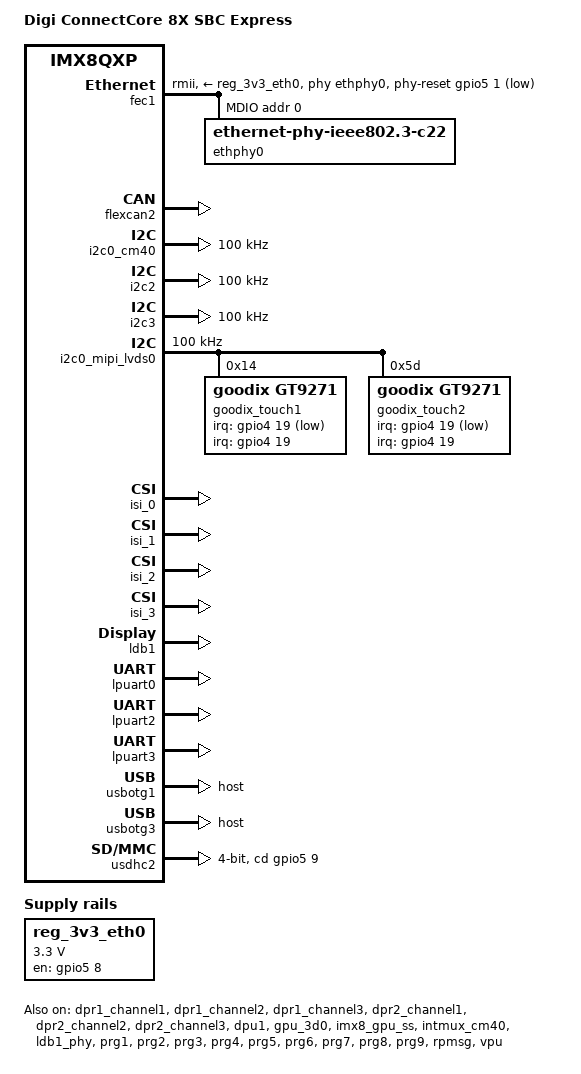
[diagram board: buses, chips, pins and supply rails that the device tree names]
/*
 * Copyright 2018, Digi International Inc.
 *
 * Permission to use, copy, modify, and/or distribute this software for any
 * purpose with or without fee is hereby granted, provided that the above
 * copyright notice and this permission notice appear in all copies.
 * THE SOFTWARE IS PROVIDED "AS IS" AND THE AUTHOR DISCLAIMS ALL WARRANTIES
 * WITH REGARD TO THIS SOFTWARE INCLUDING ALL IMPLIED WARRANTIES OF
 * MERCHANTABILITY AND FITNESS. IN NO EVENT SHALL THE AUTHOR BE LIABLE FOR
 * ANY SPECIAL, DIRECT, INDIRECT, OR CONSEQUENTIAL DAMAGES OR ANY DAMAGES
 * WHATSOEVER RESULTING FROM LOSS OF USE, DATA OR PROFITS, WHETHER IN AN
 * ACTION OF CONTRACT, NEGLIGENCE OR OTHER TORTIOUS ACTION, ARISING OUT OF
 * OR IN CONNECTION WITH THE USE OR PERFORMANCE OF THIS SOFTWARE.
 */

/dts-v1/;

/* i.MX8QXP CPU */
#include "../freescale/fsl-imx8qxp.dtsi"
/* Digi ConnectCore 8X (wireless/bluetooth variant) */
#include "ccimx8x-wb.dtsi"

/ {
	model = "Digi ConnectCore 8X SBC Express";
	compatible = "digi,ccimx8x-sbc-express", "digi,ccimx8x", "fsl,imx8qxp";

	chosen {
		bootargs = "console=ttyLP2,115200 earlycon=lpuart32,0x5a080000,115200";
		stdout-path = &lpuart2;
	};

	regulators {
		compatible = "simple-bus";
		#address-cells = <1>;
		#size-cells = <0>;

		reg_3v3_eth0: regulator@1 {
			compatible = "regulator-fixed";
			reg = <1>;
			regulator-name = "3v3_eth0";
			regulator-min-microvolt = <3300000>;
			regulator-max-microvolt = <3300000>;
			gpio = <&gpio5 8 GPIO_ACTIVE_HIGH>;
			enable-active-high;
			startup-delay-us = <25000>;
		};
	};
};

&dpr1_channel1 {
	status = "okay";
};

&dpr1_channel2 {
	status = "okay";
};

&dpr1_channel3 {
	status = "okay";
};

&dpr2_channel1 {
	status = "okay";
};

&dpr2_channel2 {
	status = "okay";
};

&dpr2_channel3 {
	status = "okay";
};

&dpu1 {
	status = "okay";
};

&fec1 {
	pinctrl-names = "default";
	pinctrl-0 = <&pinctrl_fec1>, <&pinctrl_fec1_gpio>;
	clocks = <&clk IMX8QXP_ENET0_IPG_CLK>,
		 <&clk IMX8QXP_ENET0_AHB_CLK>,
		 <&clk IMX8QXP_ENET0_REF_50MHZ_CLK>,
		 <&clk IMX8QXP_ENET0_PTP_CLK>,
		 <&clk IMX8QXP_ENET0_TX_CLK>;
	phy-mode = "rmii";
	phy-handle = <&ethphy0>;
	phy-supply = <&reg_3v3_eth0>;
	phy-reset-gpios = <&gpio5 1 GPIO_ACTIVE_LOW>;
	phy-reset-duration = <1>;
	fsl,magic-packet;
	digi,phy-reset-in-suspend;
	status = "okay";

	mdio {
		#address-cells = <1>;
		#size-cells = <0>;

		ethphy0: ethernet-phy@0 {
			compatible = "ethernet-phy-ieee802.3-c22";
			smsc,disable-energy-detect;
			reg = <0>;
		};
	};
};

&fec2 {
	status = "disabled";
};

/*
 * CAN1 port conflicts with LPUART0 RTS/CTS lines.
 * Before enabling the port you need to configure
 * lpuart0 node as 2 wires.
 */
&flexcan1 {
	pinctrl-names = "default";
	pinctrl-0 = <&pinctrl_flexcan1>;
	status = "disabled";
};

/* CAN2 */
&flexcan2 {
	pinctrl-names = "default";
	pinctrl-0 = <&pinctrl_flexcan2>;
	status = "okay";
};

/*
 * CAN3 port conflicts with LPUART3 TX/RX lines.
 * Before enabling the port you need to disable
 * lpuart3 node.
 */
&flexcan3 {
	pinctrl-names = "default";
	pinctrl-0 = <&pinctrl_flexcan3>;
	status = "disabled";
};

&gpu_3d0 {
	status = "okay";
};

&i2c0_cm40 {
	#address-cells = <1>;
	#size-cells = <0>;
	clock-frequency = <100000>;
	pinctrl-names = "default";
	pinctrl-0 = <&pinctrl_cm40_i2c>;
	status = "okay";
};

/* I2C2 available on Raspberry Pi expansion header */
&i2c2 {
	#address-cells = <1>;
	#size-cells = <0>;
	clocks = <&clk IMX8QXP_I2C2_CLK>,
		 <&clk IMX8QXP_I2C2_IPG_CLK>;
	clock-names = "per", "ipg";
	clock-frequency = <100000>;
	pinctrl-names = "default";
	pinctrl-0 = <&pinctrl_lpi2c2>;
	status = "okay";
};

/* I2C3 available on Raspberry Pi expansion header */
&i2c3 {
	#address-cells = <1>;
	#size-cells = <0>;
	clock-frequency = <100000>;
	pinctrl-names = "default";
	pinctrl-0 = <&pinctrl_lpi2c3>;
	status = "okay";
};

&i2c0_mipi_lvds0 {
	#address-cells = <1>;
	#size-cells = <0>;
	pinctrl-names = "default";
	pinctrl-0 = <&pinctrl_i2c0_mipi_lvds0>;
	clock-frequency = <100000>;
	status = "okay";

	/*
	 * On the CC8X SBC, an inconsistent reset sequence makes
	 * the Goodix display's touch controller respond to two I2C
	 * addresses: 0x14 and 0x5D. To make sure the touchscreen
	 * works every time, the touch controller's description must
	 * be duplicated for both addresses.
	 */
	goodix_touch1: gt9271@14 {
		compatible = "goodix,gt9271";
		reg = <0x14>;
		/* Interrupt for LVDS0 */
		interrupt-parent = <&gpio4>;
		interrupts = <19 IRQ_TYPE_EDGE_FALLING>;
		irq-gpios = <&gpio4 19 GPIO_ACTIVE_LOW>;
		skip-firmware-request;
		status = "okay";
	};

	goodix_touch2: gt9271@5D {
		compatible = "goodix,gt9271";
		reg = <0x5D>;
		/* Interrupt for LVDS0 */
		interrupt-parent = <&gpio4>;
		interrupts = <19 IRQ_TYPE_EDGE_FALLING>;
		irq-gpios = <&gpio4 19 GPIO_ACTIVE_LOW>;
		skip-firmware-request;
		status = "okay";
	};
};

&imx8_gpu_ss {
	status = "okay";
};

&intmux_cm40 {
	status = "okay";
};

&isi_0 {
	status = "okay";
};

&isi_1 {
	status = "okay";
};

&isi_2 {
	status = "okay";
};

&isi_3 {
	status = "okay";
};

&ldb1 {
	pinctrl-names = "default";
	pinctrl-0 = <&pinctrl_lvds0>;
	status = "okay";

	lvds-channel@0 {
		fsl,data-mapping = "jeida";
		fsl,data-width = <24>;
		status = "okay";

		display-timings {
			native-mode = <&g101evn010_1>;

			/* AUO G101EVN01.0 */
			g101evn010_1: timing@0 {
				clock-frequency = <68930000>;
				hactive = <1280>;
				vactive = <800>;
				hfront-porch = <120>;
				hback-porch = <0>;
				hsync-len = <8>;
				vback-porch = <10>;
				vfront-porch = <0>;
				vsync-len = <6>;
				hsync-active = <1>;
				vsync-active = <1>;
				de-active = <1>;
				pixelclk-active = <0>;
			};
		};
	};
};

&ldb1_phy {
	status = "okay";
};

/* LPUART0 on XBee socket */
&lpuart0 {
	/* RTS/CTS lines multiplexed with CAN1 */
	pinctrl-names = "default";
	pinctrl-0 = <&pinctrl_lpuart0_4wires>, <&pinctrl_xbee_gpios>;
	status = "okay";
};

/* Console */
&lpuart2 {
	pinctrl-names = "default";
	pinctrl-0 = <&pinctrl_lpuart2>;
	status = "okay";
};

/* LPUART3 on expansion header */
&lpuart3 {
	/* TX/RX lines multiplexed with CAN3 */
	pinctrl-names = "default";
	pinctrl-0 = <&pinctrl_lpuart3>;
	status = "okay";
};

&pd_dma_lpuart2 {
	debug_console;
};

&prg1 {
	status = "okay";
};

&prg2 {
	status = "okay";
};

&prg3 {
	status = "okay";
};

&prg4 {
	status = "okay";
};

&prg5 {
	status = "okay";
};

&prg6 {
	status = "okay";
};

&prg7 {
	status = "okay";
};

&prg8 {
	status = "okay";
};

&prg9 {
	status = "okay";
};

&rpmsg{
	/*
	 * 64K for one rpmsg instance:
	 * --0xb8000000~0xb800ffff: pingpong
	 */
	vdev-nums = <1>;
	reg = <0x0 0xb8000000 0x0 0x10000>;
	status = "okay";
};

&usbotg1 {
	/*
	 * To configure this USB port as a device set dr_mode to "otg";
	 * to configure it as a host set to "host" instead.
	 */
	dr_mode = "host";
	disable-over-current;
	status = "okay";
};

&usbotg3 {
	dr_mode = "host";
	disable-over-current;
	status = "okay";
};

/* Micro SD card */
&usdhc2 {
	pinctrl-names = "default", "state_100mhz", "state_200mhz";
	pinctrl-0 = <&pinctrl_usdhc2>, <&pinctrl_usdhc2_gpio>;
	pinctrl-1 = <&pinctrl_usdhc2_100mhz>, <&pinctrl_usdhc2_gpio>;
	pinctrl-2 = <&pinctrl_usdhc2_200mhz>, <&pinctrl_usdhc2_gpio>;
	bus-width = <4>;
	no-1-8-v;
	cd-gpios = <&gpio5 9 GPIO_ACTIVE_HIGH>;
	status = "okay";
};

&vpu {
	status = "okay";
};

/*
 * Uncomment to enable MCA ADC channels on Rasberry Pi Expansion connector:
 *  - MCA_IO1 (channel 1)
 *  - MCA_IO2 (channel 2)
 *  - MCA_IO3 (channel 3)
 *  - MCA_IO4 (channel 4)
 *  - MCA_IO5 (channel 5)
 *  - MCA_IO6 (channel 6)
 *  - MCA_IO7 (channel 7)
 *  - MCA_IO8 (channel 8)
 * Edit adc-ch-list to include the ADC channels that you want to enable.
 */
// &mca_adc {
//	digi,adc-ch-list = <1 2 3 4 5 6 7 8>;
//	digi,adc-vref = <3000000>;
// };

/* IOMUX */
&iomuxc {
	pinctrl-names = "default";
	pinctrl-0 = <&pinctrl_hog>;

	ccimx8x {
		pinctrl_cm40_i2c: cm40i2cgrp {
			fsl,pins = <
				SC_P_ADC_IN1_M40_I2C0_SDA	0x0600004c
				SC_P_ADC_IN0_M40_I2C0_SCL	0x0600004c
			>;
		};

		pinctrl_hog: hoggrp {
			fsl,pins = <
				/* User LED */
				SC_P_MCLK_IN0_LSIO_GPIO0_IO19	0x06000020
				/* User button */
				SC_P_MCLK_OUT0_LSIO_GPIO0_IO20	0x06000020
			>;
		};

		pinctrl_lpuart0_2wires: lpuart0grp_2wires {
			fsl,pins = <
				SC_P_UART0_RX_ADMA_UART0_RX		0x06000020
				SC_P_UART0_TX_ADMA_UART0_TX		0x06000020
			>;
		};

		pinctrl_lpuart0_4wires: lpuart0grp_4wires {
			fsl,pins = <
				SC_P_UART0_RX_ADMA_UART0_RX		0x06000020
				SC_P_UART0_TX_ADMA_UART0_TX		0x06000020
				SC_P_FLEXCAN0_RX_ADMA_UART0_RTS_B	0x06000020
				SC_P_FLEXCAN0_TX_ADMA_UART0_CTS_B	0x06000020
			>;
		};

		pinctrl_lpuart2: lpuart2grp {
			fsl,pins = <
				SC_P_UART2_TX_ADMA_UART2_TX	0x06000020
				SC_P_UART2_RX_ADMA_UART2_RX	0x06000020
			>;
		};

		pinctrl_lpuart3: lpuart3grp {
			fsl,pins = <
				SC_P_FLEXCAN2_TX_ADMA_UART3_TX	0x06000020
				SC_P_FLEXCAN2_RX_ADMA_UART3_RX	0x06000020
			>;
		};

		pinctrl_lvds0: lvds0grp {
			fsl,pins = <
				/* LVDS0 touch interrupt */
				SC_P_USDHC1_RESET_B_LSIO_GPIO4_IO19	0x06000020
				/* LVDS0 PWM backlight (as GPIO) */
				SC_P_MIPI_DSI0_GPIO0_00_LSIO_GPIO1_IO27	0x06000020
			>;
		};

		pinctrl_fec1_gpio: fec1gpiogrp {
			fsl,pins = <
				/* PHY reset */
				SC_P_ENET0_RGMII_TXD2_LSIO_GPIO5_IO01	0x06000021
				/* PHY power */
				SC_P_ENET0_RGMII_RXD3_LSIO_GPIO5_IO08	0x06000021
				/* PHY interrupt */
				SC_P_ENET0_RGMII_TXD3_LSIO_GPIO5_IO02	0x06000021
			>;
		};

		pinctrl_fec1: fec1grp {
			fsl,pins = <
				SC_P_ENET0_MDC_CONN_ENET0_MDC			0x06000020
				SC_P_ENET0_MDIO_CONN_ENET0_MDIO			0x06000020
				SC_P_ENET0_RGMII_TX_CTL_CONN_ENET0_RGMII_TX_CTL	0x06000020
				SC_P_ENET0_RGMII_TXC_CONN_ENET0_RCLK50M_OUT	0x06000020
				SC_P_ENET0_RGMII_TXD0_CONN_ENET0_RGMII_TXD0	0x06000020
				SC_P_ENET0_RGMII_TXD1_CONN_ENET0_RGMII_TXD1	0x06000020
				SC_P_ENET0_RGMII_RX_CTL_CONN_ENET0_RGMII_RX_CTL	0x06000020
				SC_P_ENET0_RGMII_RXD0_CONN_ENET0_RGMII_RXD0	0x06000020
				SC_P_ENET0_RGMII_RXD1_CONN_ENET0_RGMII_RXD1	0x06000020
				SC_P_ENET0_RGMII_RXD2_CONN_ENET0_RMII_RX_ER	0x06000048
			>;
		};

		pinctrl_flexcan1: flexcan0grp {
			fsl,pins = <
				SC_P_FLEXCAN0_TX_ADMA_FLEXCAN0_TX		0x21
				SC_P_FLEXCAN0_RX_ADMA_FLEXCAN0_RX		0x21
			>;
		};

		pinctrl_flexcan2: flexcan1grp {
			fsl,pins = <
				SC_P_FLEXCAN1_TX_ADMA_FLEXCAN1_TX		0x21
				SC_P_FLEXCAN1_RX_ADMA_FLEXCAN1_RX		0x21
			>;
		};

		pinctrl_flexcan3: flexcan2grp {
			fsl,pins = <
				SC_P_FLEXCAN2_TX_ADMA_FLEXCAN2_TX		0x21
				SC_P_FLEXCAN2_RX_ADMA_FLEXCAN2_RX		0x21
			>;
		};

		pinctrl_i2c0_mipi_lvds0: mipi_lvds0_i2c0_grp {
			fsl,pins = <
				SC_P_MIPI_DSI0_I2C0_SCL_MIPI_DSI0_I2C0_SCL 0xc6000020
				SC_P_MIPI_DSI0_I2C0_SDA_MIPI_DSI0_I2C0_SDA 0xc6000020
			>;
		};

		pinctrl_lpi2c2: lpi2c2grp {
			fsl,pins = <
				SC_P_MIPI_DSI1_GPIO0_00_ADMA_I2C2_SCL	0x06000020
				SC_P_MIPI_DSI1_GPIO0_01_ADMA_I2C2_SDA	0x06000020
			>;
		};

		pinctrl_lpi2c3: lpi2c3grp {
			fsl,pins = <
				SC_P_SPI3_CS1_ADMA_I2C3_SCL	0x06000020
				SC_P_MCLK_IN1_ADMA_I2C3_SDA	0x06000020
			>;
		};

		pinctrl_pcieb: pcieagrp{
			fsl,pins = <
				SC_P_PCIE_CTRL0_PERST_B_LSIO_GPIO4_IO00		0x06000021
				SC_P_PCIE_CTRL0_CLKREQ_B_LSIO_GPIO4_IO01	0x06000021
				SC_P_PCIE_CTRL0_WAKE_B_LSIO_GPIO4_IO02		0x06000021
			>;
		};

		pinctrl_usdhc2_gpio: usdhc2gpiogrp {
			fsl,pins = <
				/* Card detect */
				SC_P_ENET0_REFCLK_125M_25M_LSIO_GPIO5_IO09	0x06000021
			>;
		};

		pinctrl_usdhc2: usdhc2grp {
			fsl,pins = <
				SC_P_USDHC1_CLK_CONN_USDHC1_CLK		0x06000041
				SC_P_USDHC1_CMD_CONN_USDHC1_CMD		0x06000021
				SC_P_USDHC1_DATA0_CONN_USDHC1_DATA0	0x06000021
				SC_P_USDHC1_DATA1_CONN_USDHC1_DATA1	0x06000021
				SC_P_USDHC1_DATA2_CONN_USDHC1_DATA2	0x06000021
				SC_P_USDHC1_DATA3_CONN_USDHC1_DATA3	0x06000021
			>;
		};

		pinctrl_usdhc2_100mhz: usdhc2grp100mhz {
			fsl,pins = <
				SC_P_USDHC1_CLK_CONN_USDHC1_CLK		0x06000040
				SC_P_USDHC1_CMD_CONN_USDHC1_CMD		0x06000020
				SC_P_USDHC1_DATA0_CONN_USDHC1_DATA0	0x06000020
				SC_P_USDHC1_DATA1_CONN_USDHC1_DATA1	0x06000020
				SC_P_USDHC1_DATA2_CONN_USDHC1_DATA2	0x06000020
				SC_P_USDHC1_DATA3_CONN_USDHC1_DATA3	0x06000020
			>;
		};

		pinctrl_usdhc2_200mhz: usdhc2grp200mhz {
			fsl,pins = <
				SC_P_USDHC1_CLK_CONN_USDHC1_CLK		0x06000040
				SC_P_USDHC1_CMD_CONN_USDHC1_CMD		0x06000020
				SC_P_USDHC1_DATA0_CONN_USDHC1_DATA0	0x06000020
				SC_P_USDHC1_DATA1_CONN_USDHC1_DATA1	0x06000020
				SC_P_USDHC1_DATA2_CONN_USDHC1_DATA2	0x06000020
				SC_P_USDHC1_DATA3_CONN_USDHC1_DATA3	0x06000020
			>;
		};

		pinctrl_xbee_gpios: xbeegrp {
			fsl,pins = <
				/* XBEE_RESET_N */
				SC_P_QSPI0A_DQS_LSIO_GPIO3_IO13		0x06000021
				/* XBEE_ON/SLEEP_N */
				SC_P_QSPI0A_SS0_B_LSIO_GPIO3_IO14	0x06000021
				/* XBEE_SLEEP_RQ */
				SC_P_QSPI0A_SCLK_LSIO_GPIO3_IO16	0x06000021
			>;
		};
	};
};
